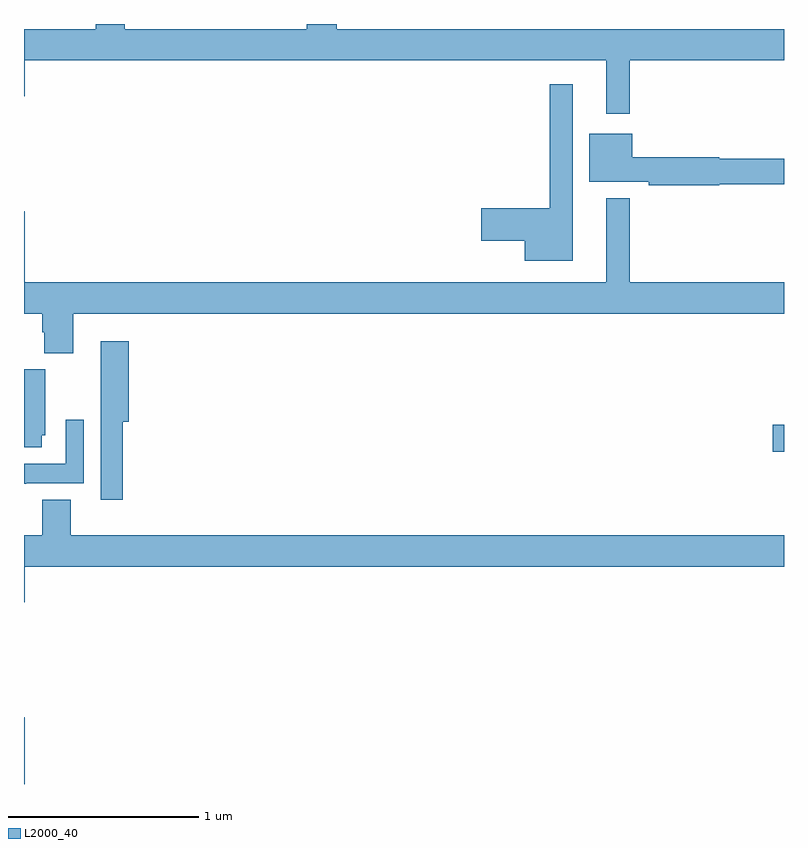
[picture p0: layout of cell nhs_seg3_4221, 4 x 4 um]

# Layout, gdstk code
import gdstk
lib = gdstk.Library(unit=1e-6, precision=1e-09)
def R(c, l, rs):  # rectangles x0, y0, x1, y1
    for r in rs: c.add(gdstk.rectangle(r[:2], r[2:], *l))
def P(c, l, *ps):  # polygons
    for p in ps: c.add(gdstk.Polygon(p, *l))
L2000_40 = (2000, 40)

nhs_seg3_4221 = lib.new_cell('nhs_seg3_4221')
R(nhs_seg3_4221, L2000_40, [(333,738.4,333.004,738.751), (336.942,740.149,337,740.291)])
P(nhs_seg3_4221, L2000_40, [(336.187,742.208),(337,742.208),(337,742.372),(334.646,742.372),(334.646,742.4),(334.489,742.4),(334.489,742.372),(333.529,742.372),(333.529,742.4),(333.377,742.4),(333.377,742.372),(333,742.372),(333,742.02),(333.004,742.02),(333.004,742.208),(336.065,742.208),(336.065,741.927),(336.187,741.927)],
  [(335.887,742.084),(335.766,742.084),(335.766,741.431),(335.406,741.431),(335.406,741.26),(335.636,741.26),(335.636,741.155),(335.887,741.155)],
  [(336.66,741.556),(337,741.556),(337,741.692),(336.66,741.692),(336.66,741.698),(336.202,741.698),(336.202,741.823),(335.975,741.823),(335.975,741.569),(336.288,741.569),(336.288,741.551),(336.66,741.551)],
  [(333.26,740.876),(337,740.876),(337,741.04),(336.187,741.04),(336.187,741.484),(336.065,741.484),(336.065,741.04),(333.004,741.04),(333.004,741.415),(333,741.415),(333,740.876),(333.095,740.876),(333.095,740.777),(333.107,740.777),(333.107,740.668),(333.26,740.668)],
  [(333.521,740.306),(333.551,740.306),(333.551,740.731),(333.404,740.731),(333.404,740.41),(333.405,740.41),(333.405,739.896),(333.521,739.896)],
  [(333.094,740.235),(333.112,740.235),(333.112,740.583),(333,740.583),(333,740.172),(333.094,740.172)],
  [(333.011,739.982),(333.315,739.982),(333.315,740.317),(333.219,740.317),(333.219,740.086),(333,740.086),(333,739.98),(333.011,739.98)],
  [(333.004,739.544),(337,739.544),(337,739.708),(333.247,739.708),(333.247,739.897),(333.095,739.897),(333.095,739.708),(333,739.708),(333,739.356),(333.004,739.356)])

lib.write_gds('nhs_seg3_4221.gds')
